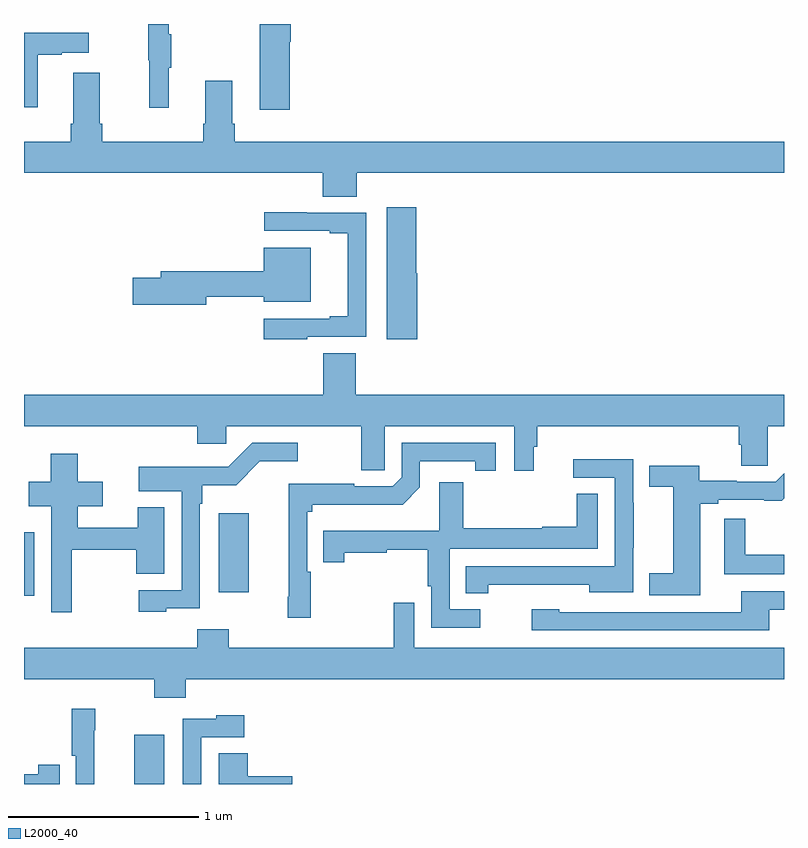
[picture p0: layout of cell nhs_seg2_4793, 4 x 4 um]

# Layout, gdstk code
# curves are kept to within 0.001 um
import gdstk
lib = gdstk.Library(unit=1e-6, precision=1e-09)
def R(c, l, rs):  # rectangles x0, y0, x1, y1
    for r in rs: c.add(gdstk.rectangle(r[:2], r[2:], *l))
def P(c, l, *ps):  # polygons
    for p in ps: c.add(gdstk.Polygon(p, *l))
L2000_40 = (2000, 40)

nhs_seg2_4793 = lib.new_cell('nhs_seg2_4793')
R(nhs_seg2_4793, L2000_40, [(373.58,597.8,373.738,598.06), (373,598.79,373.053,599.125), (374.024,598.809,374.182,599.224)])
P(nhs_seg2_4793, L2000_40, [(373.763,601.571),(373.774,601.571),(373.774,601.745),(373.763,601.745),(373.763,601.8),(373.653,601.8),(373.653,601.608),(373.66,601.608),(373.66,601.359),(373.763,601.359)],
  [(374.399,601.707),(374.404,601.707),(374.404,601.8),(374.24,601.8),(374.24,601.35),(374.399,601.35)],
  [(373.072,601.639),(373.199,601.639),(373.199,601.649),(373.342,601.649),(373.342,601.753),(373,601.753),(373,601.362),(373.072,601.362)],
  [(374.75,601.016),(377,601.016),(377,601.18),(374.108,601.18),(374.108,601.276),(374.095,601.276),(374.095,601.501),(373.955,601.501),(373.955,601.276),(373.943,601.276),(373.943,601.18),(373.412,601.18),(373.412,601.276),(373.399,601.276),(373.399,601.543),(373.259,601.543),(373.259,601.276),(373.247,601.276),(373.247,601.18),(373,601.18),(373,601.016),(374.573,601.016),(374.573,600.892),(374.75,600.892)],
  [(375.07,600.489),(375.065,600.489),(375.065,600.835),(374.909,600.835),(374.909,600.141),(375.07,600.141)],
  [(374.492,600.153),(374.802,600.153),(374.802,600.807),(374.489,600.807),(374.489,600.809),(374.265,600.809),(374.265,600.711),(374.609,600.711),(374.609,600.699),(374.705,600.699),(374.705,600.262),(374.609,600.262),(374.609,600.249),(374.262,600.249),(374.262,600.141),(374.492,600.141)],
  [(373.96,600.364),(374.261,600.364),(374.261,600.338),(374.509,600.338),(374.509,600.622),(374.261,600.622),(374.261,600.5),(373.721,600.5),(373.721,600.464),(373.572,600.464),(373.572,600.322),(373.96,600.322)],
  [(375.682,599.574),(375.7,599.574),(375.7,599.684),(376.763,599.684),(376.763,599.586),(376.775,599.586),(376.775,599.476),(376.914,599.476),(376.914,599.684),(377,599.684),(377,599.848),(374.747,599.848),(374.747,600.068),(374.576,600.068),(374.576,599.848),(373,599.848),(373,599.684),(373.913,599.684),(373.913,599.591),(374.064,599.591),(374.064,599.684),(374.776,599.684),(374.776,599.452),(374.898,599.452),(374.898,599.684),(375.581,599.684),(375.581,599.448),(375.682,599.448)],
  [(373.749,598.725),(373.926,598.725),(373.926,599.276),(373.939,599.276),(373.939,599.372),(374.116,599.372),(374.242,599.498),(374.44,599.498),(374.44,599.595),(374.201,599.595),(374.075,599.469),(373.605,599.47),(373.605,599.342),(373.83,599.342),(373.83,598.821),(373.605,598.821),(373.605,598.706),(373.749,598.706)],
  [(374.51,598.918),(374.49,598.918),(374.49,599.232),(374.518,599.232),(374.518,599.27),(374.993,599.27),(375.084,599.361),(375.084,599.499),(375.374,599.499),(375.374,599.448),(375.484,599.448),(375.484,599.595),(374.988,599.595),(374.988,599.415),(374.94,599.367),(374.737,599.367),(374.737,599.38),(374.393,599.38),(374.393,598.786),(374.387,598.786),(374.387,598.674),(374.51,598.674)],
  [(373.252,599.032),(373.591,599.032),(373.591,598.906),(373.738,598.906),(373.738,599.257),(373.598,599.257),(373.598,599.148),(373.284,599.148),(373.284,599.261),(373.414,599.261),(373.414,599.391),(373.284,599.391),(373.284,599.539),(373.142,599.539),(373.142,599.391),(373.025,599.391),(373.025,599.261),(373.143,599.261),(373.143,598.704),(373.252,598.704)],
  [(375.444,598.85),(375.974,598.85),(375.974,598.808),(376.206,598.808),(376.206,599.044),(376.208,599.044),(376.208,599.279),(376.206,599.279),(376.206,599.509),(375.891,599.509),(375.891,599.412),(376.11,599.412),(376.11,598.947),(375.325,598.947),(375.325,598.804),(375.444,598.804)],
  [(376.558,599.275),(376.654,599.275),(376.654,599.295),(376.895,599.295),(376.895,599.29),(376.987,599.29),(377,599.303),(377,599.435),(376.956,599.391),(376.752,599.391),(376.752,599.396),(376.555,599.396),(376.555,599.476),(376.291,599.476),(376.291,599.365),(376.418,599.365),(376.418,598.908),(376.291,598.908),(376.291,598.793),(376.558,598.793)],
  [(375.4,598.719),(375.24,598.719),(375.24,599.037),(376.02,599.037),(376.02,599.327),(375.908,599.327),(375.908,599.153),(375.727,599.153),(375.727,599.146),(375.313,599.146),(375.313,599.389),(375.185,599.389),(375.185,599.134),(374.575,599.134),(374.575,598.968),(374.686,598.968),(374.686,599.017),(374.91,599.017),(374.91,599.032),(375.124,599.032),(375.124,598.84),(375.144,598.84),(375.144,598.623),(375.4,598.623)],
  [(377,599.006),(376.795,599.006),(376.795,599.197),(376.686,599.197),(376.686,598.905),(377,598.905)],
  [(376.923,598.718),(377,598.718),(377,598.815),(376.775,598.815),(376.775,598.704),(375.816,598.704),(375.816,598.72),(375.672,598.72),(375.672,598.608),(376.923,598.608)],
  [(373.85,598.352),(377,598.352),(377,598.516),(375.054,598.516),(375.054,598.753),(374.946,598.753),(374.946,598.516),(374.078,598.516),(374.078,598.615),(373.913,598.615),(373.913,598.516),(373,598.516),(373,598.352),(373.685,598.352),(373.685,598.253),(373.85,598.253)],
  [(373.37,598.082),(373.376,598.082),(373.376,598.195),(373.252,598.195),(373.252,597.95),(373.272,597.95),(373.272,597.8),(373.37,597.8)],
  [(373.932,598.047),(374.158,598.047),(374.158,598.162),(374.013,598.162),(374.013,598.143),(373.836,598.143),(373.836,597.8),(373.932,597.8)],
  [(374.413,597.842),(374.177,597.842),(374.177,597.962),(374.024,597.962),(374.024,597.8),(374.413,597.8)],
  [(373.187,597.901),(373.076,597.901),(373.076,597.851),(373,597.851),(373,597.8),(373.187,597.8)])

lib.write_gds('nhs_seg2_4793.gds')
